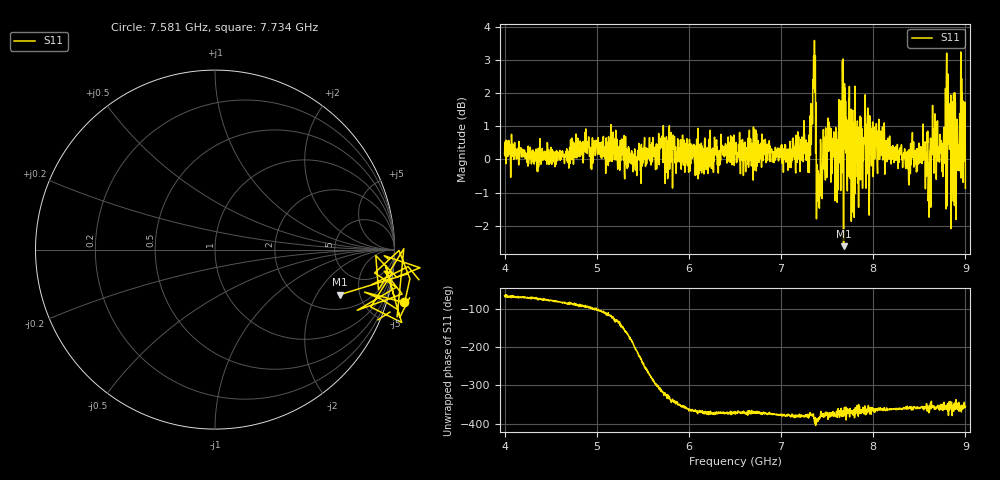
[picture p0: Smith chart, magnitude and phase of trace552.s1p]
! Created with skrf 1.8.0 (http://scikit-rf.org).
# Hz S RI R 50.0
!freq ReS11 ImS11
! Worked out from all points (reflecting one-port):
!   1601 points, 4 GHz to 9 GHz, reference 50 ohm
!   lowest |S11| = -2.6 dB at 7.678 GHz (marker M1), VSWR 6.68, Z = 145 - j161 ohm
!   phase of S11 starts at -66 deg and turns -289 deg over the sweep
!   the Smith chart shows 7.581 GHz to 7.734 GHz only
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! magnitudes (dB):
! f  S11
! 4 GHz  0.2
! 4.625 GHz  0.1
! 5.25 GHz  -0.3
! 5.875 GHz  -0.1
! 6.5 GHz  0.2
! 7.125 GHz  0.6
! 7.294 GHz  -0.4
! 7.347 GHz  2.4
! 7.369 GHz  3.1
! 7.4 GHz  -1.0
! 7.409 GHz  -0.7
! 7.509 GHz  0.4
! 7.609 GHz  -1.3
! 7.647 GHz  -0.9
! 7.678 GHz  -2.6
! 7.75 GHz  -0.6
! 7.775 GHz  1.4
! 7.891 GHz  0.0
! 8.097 GHz  0.3
! 8.375 GHz  -0.3
! 8.538 GHz  0.1
! 8.603 GHz  -0.4
! 8.656 GHz  0.9
! 8.766 GHz  1.0
! 8.816 GHz  0.5
! 8.869 GHz  -1.3
! 8.972 GHz  0.1
! 9 GHz  -0.9
